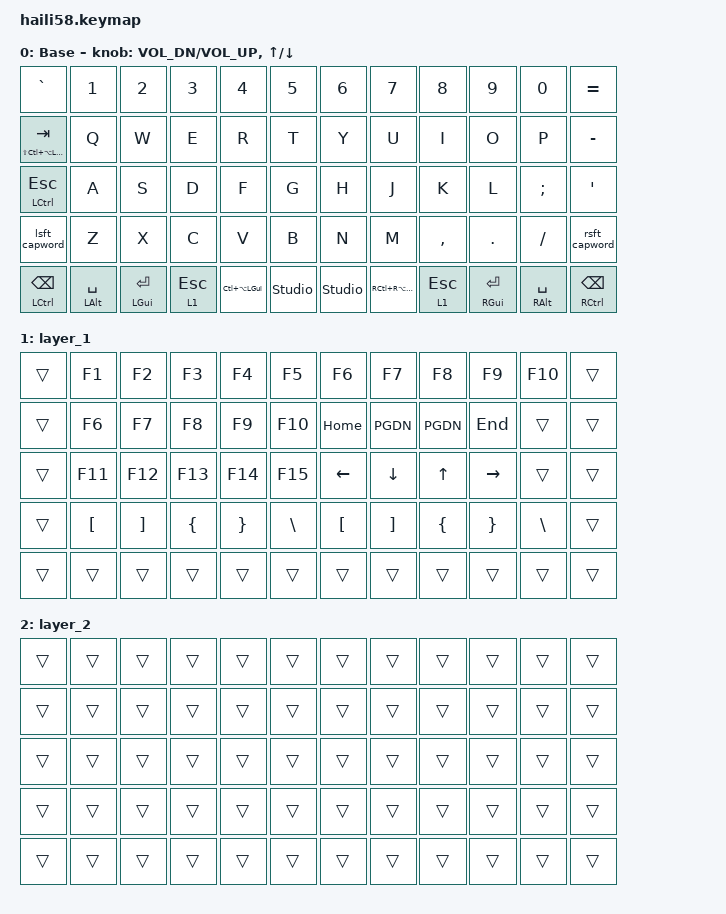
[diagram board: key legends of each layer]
#include <behaviors.dtsi>
#include <dt-bindings/zmk/keys.h>

/ {
    behaviors {
        lsft_capword: lsft_capword {
            compatible = "zmk,behavior-tap-dance";
            #binding-cells = <0>;
            tapping-term-ms = <200>;
            bindings = <&kp LSFT>, <&caps_word>;
        };
        rsft_capword: rsft_capword {
            compatible = "zmk,behavior-tap-dance";
            #binding-cells = <0>;
            tapping-term-ms = <200>;
            bindings = <&kp RSFT>, <&caps_word>;
        };
    };

    keymap {
        compatible = "zmk,keymap";

        default_layer {
            display-name = "Base";
            bindings = <
&kp GRAVE                 &kp N1    &kp N2    &kp N3    &kp N4  &kp N5          &kp N6  &kp N7   &kp N8     &kp N9   &kp N0     &kp EQL
&mt LS(LC(LA(LGUI))) TAB  &kp Q     &kp W     &kp E     &kp R   &kp T           &kp Y   &kp U    &kp I      &kp O    &kp P      &kp MINUS
&mt LCTL ESC              &kp A     &kp S     &kp D     &kp F   &kp G           &kp H   &kp J    &kp K      &kp L    &kp SEMI   &kp APOS
&lsft_capword             &kp Z     &kp X     &kp C     &kp V   &kp B           &kp N   &kp M    &kp COMMA  &kp DOT  &kp FSLH   &rsft_capword
&mt LCTL BKSP &mt LALT SPACE &mt LGUI ENTER  &lt 1 ESC &kp LC(LA(LGUI)) &studio_unlock   &studio_unlock &kp RC(RA(RGUI)) &lt 1 ESC  &mt RGUI ENTER &mt RALT SPACE &mt RCTL BKSP
            >;

            sensor-bindings = <&inc_dec_kp C_VOL_DN C_VOL_UP &inc_dec_kp UP DOWN>;
        };

        layer_1 {
            bindings = <
&trans       &kp F1   &kp F2   &kp F3   &kp F4   &kp F5           &kp F6   &kp F7    &kp F8    &kp F9     &kp F10  &trans
&trans       &kp F6   &kp F7   &kp F8   &kp F9   &kp F10          &kp HOME &kp PGDN  &kp PGDN  &kp END    &trans   &trans
&trans       &kp F11  &kp F12  &kp F13  &kp F14  &kp F15          &kp LEFT &kp DOWN  &kp UP    &kp RIGHT  &trans   &trans
&trans       &kp LBKT &kp RBKT &kp LBRC &kp RBRC &kp BSLH         &kp LBKT &kp RBKT  &kp LBRC  &kp RBRC   &kp BSLH &trans
&trans       &trans   &trans   &trans  &trans  &trans             &trans   &trans    &trans    &trans     &trans   &trans
            >;
        };

        layer_2 {
            bindings = <
&trans  &trans  &trans  &trans  &trans  &trans      &trans   &trans &trans &trans &trans &trans
&trans  &trans  &trans  &trans  &trans  &trans      &trans   &trans &trans &trans &trans &trans
&trans  &trans  &trans  &trans  &trans  &trans      &trans   &trans &trans &trans &trans &trans
&trans  &trans  &trans  &trans  &trans  &trans      &trans   &trans &trans &trans &trans &trans
&trans  &trans  &trans  &trans  &trans  &trans      &trans   &trans &trans &trans &trans &trans
            >;
        };
    };
};
